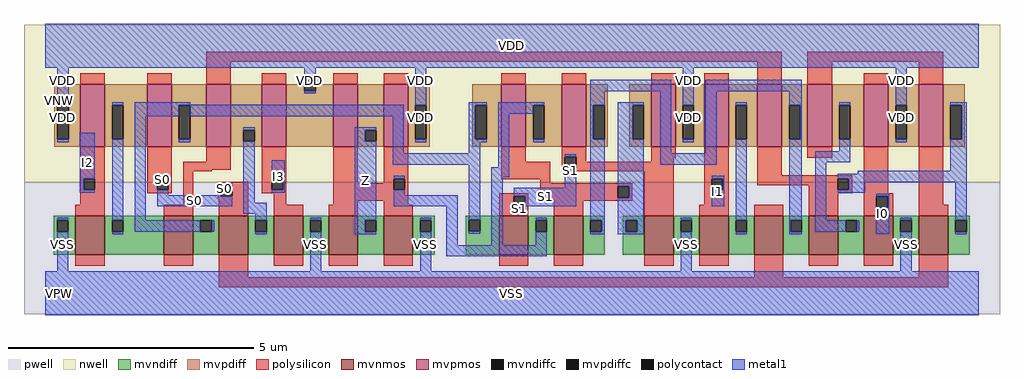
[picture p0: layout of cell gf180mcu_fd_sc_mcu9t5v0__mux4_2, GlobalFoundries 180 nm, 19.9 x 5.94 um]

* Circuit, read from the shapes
.subckt gf180mcu_fd_sc_mcu9t5v0__mux4_2 I0 I1 I2 I3 S0 S1 Z VDD VNW VPW VSS
XM1 n1 I2 VSS VPW nfet_06v0 w=0.8u l=0.6u
XM2 n2 n3 n1 VPW nfet_06v0 w=0.8u l=0.6u
XM3 n4 S0 n2 VPW nfet_06v0 w=0.8u l=0.6u
XM4 VSS I3 n4 VPW nfet_06v0 w=0.8u l=0.6u
XM5 Z n5 VSS VPW nfet_06v0 w=0.8u l=0.6u m=2
XM6 n5 S1 n2 VPW nfet_06v0 w=0.8u l=0.6u
XM7 n6 n7 n5 VPW nfet_06v0 w=0.8u l=0.6u
XM8 VSS S1 n7 VPW nfet_06v0 w=0.8u l=0.6u
XM9 n8 I1 VSS VPW nfet_06v0 w=0.8u l=0.6u
XM10 n6 S0 n8 VPW nfet_06v0 w=0.8u l=0.6u
XM11 n9 n3 n6 VPW nfet_06v0 w=0.8u l=0.6u
XM12 VSS I0 n9 VPW nfet_06v0 w=0.8u l=0.6u
XM13 n3 S0 VSS VPW nfet_06v0 w=0.8u l=0.6u
XM14 n1 I2 VDD VNW pfet_06v0 w=1.28u l=0.5u
XM15 n2 S0 n1 VNW pfet_06v0 w=1.28u l=0.5u
XM16 n4 n3 n2 VNW pfet_06v0 w=1.28u l=0.5u
XM17 VDD I3 n4 VNW pfet_06v0 w=1.28u l=0.5u
XM18 Z n5 VDD VNW pfet_06v0 w=1.28u l=0.5u m=2
XM19 n5 n7 n2 VNW pfet_06v0 w=1.28u l=0.5u
XM20 n6 S1 n5 VNW pfet_06v0 w=1.28u l=0.5u
XM21 VDD S1 n7 VNW pfet_06v0 w=1.28u l=0.5u
XM22 n8 I1 VDD VNW pfet_06v0 w=1.28u l=0.5u
XM23 n6 n3 n8 VNW pfet_06v0 w=1.28u l=0.5u
XM24 n9 S0 n6 VNW pfet_06v0 w=1.28u l=0.5u
XM25 VDD I0 n9 VNW pfet_06v0 w=1.28u l=0.5u
XM26 n3 S0 VDD VNW pfet_06v0 w=1.28u l=0.5u
.ends

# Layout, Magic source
magic
tech gf180mcuD
magscale 1 10
<< nwell >>
rect -86 453 3894 1094
<< pwell >>
rect -86 -86 3894 453
<< mvnmos >>
rect 124 156 244 316
rect 484 156 604 316
rect 708 156 828 316
rect 932 156 1052 316
rect 1156 156 1276 316
rect 1380 156 1500 316
rect 1851 156 1971 316
rect 2075 156 2195 316
rect 2443 156 2563 316
rect 2667 156 2787 316
rect 2891 156 3011 316
rect 3115 156 3235 316
rect 3339 156 3459 316
rect 3563 156 3683 316
<< mvpmos >>
rect 144 596 244 852
rect 416 596 516 852
rect 658 596 758 852
rect 884 596 984 852
rect 1176 596 1276 852
rect 1380 596 1480 852
rect 1861 596 1961 852
rect 2107 596 2207 852
rect 2471 596 2571 852
rect 2687 596 2787 852
rect 2905 596 3005 852
rect 3109 596 3209 852
rect 3339 596 3439 852
rect 3563 596 3663 852
<< mvndiff >>
rect 36 297 124 316
rect 36 251 49 297
rect 95 251 124 297
rect 36 156 124 251
rect 244 297 484 316
rect 244 251 273 297
rect 319 251 484 297
rect 244 156 484 251
rect 604 297 708 316
rect 604 251 633 297
rect 679 251 708 297
rect 604 156 708 251
rect 828 297 932 316
rect 828 251 857 297
rect 903 251 932 297
rect 828 156 932 251
rect 1052 297 1156 316
rect 1052 251 1081 297
rect 1127 251 1156 297
rect 1052 156 1156 251
rect 1276 297 1380 316
rect 1276 251 1305 297
rect 1351 251 1380 297
rect 1276 156 1380 251
rect 1500 297 1588 316
rect 1500 251 1529 297
rect 1575 251 1588 297
rect 1500 156 1588 251
rect 1715 299 1851 316
rect 1715 253 1728 299
rect 1774 253 1851 299
rect 1715 156 1851 253
rect 1971 297 2075 316
rect 1971 251 2000 297
rect 2046 251 2075 297
rect 1971 156 2075 251
rect 2195 297 2283 316
rect 2195 251 2224 297
rect 2270 251 2283 297
rect 2195 156 2283 251
rect 2355 297 2443 316
rect 2355 251 2368 297
rect 2414 251 2443 297
rect 2355 156 2443 251
rect 2563 297 2667 316
rect 2563 251 2592 297
rect 2638 251 2667 297
rect 2563 156 2667 251
rect 2787 297 2891 316
rect 2787 251 2816 297
rect 2862 251 2891 297
rect 2787 156 2891 251
rect 3011 297 3115 316
rect 3011 251 3040 297
rect 3086 251 3115 297
rect 3011 156 3115 251
rect 3235 297 3339 316
rect 3235 251 3264 297
rect 3310 251 3339 297
rect 3235 156 3339 251
rect 3459 297 3563 316
rect 3459 251 3488 297
rect 3534 251 3563 297
rect 3459 156 3563 251
rect 3683 297 3771 316
rect 3683 251 3712 297
rect 3758 251 3771 297
rect 3683 156 3771 251
<< mvpdiff >>
rect 1044 871 1116 884
rect 1044 852 1057 871
rect 37 767 144 852
rect 37 627 50 767
rect 96 627 144 767
rect 37 596 144 627
rect 244 767 416 852
rect 244 627 273 767
rect 319 627 416 767
rect 244 596 416 627
rect 516 767 658 852
rect 516 627 545 767
rect 591 627 658 767
rect 516 596 658 627
rect 758 665 884 852
rect 758 619 809 665
rect 855 619 884 665
rect 758 596 884 619
rect 984 825 1057 852
rect 1103 852 1116 871
rect 1103 825 1176 852
rect 984 596 1176 825
rect 1276 665 1380 852
rect 1276 619 1305 665
rect 1351 619 1380 665
rect 1276 596 1380 619
rect 1480 767 1568 852
rect 1480 627 1509 767
rect 1555 627 1568 767
rect 1480 596 1568 627
rect 1742 767 1861 852
rect 1742 627 1755 767
rect 1801 627 1861 767
rect 1742 596 1861 627
rect 1961 767 2107 852
rect 1961 627 1990 767
rect 2036 627 2107 767
rect 1961 596 2107 627
rect 2207 767 2295 852
rect 2207 627 2236 767
rect 2282 627 2295 767
rect 2207 596 2295 627
rect 2383 767 2471 852
rect 2383 627 2396 767
rect 2442 627 2471 767
rect 2383 596 2471 627
rect 2571 767 2687 852
rect 2571 627 2600 767
rect 2646 627 2687 767
rect 2571 596 2687 627
rect 2787 767 2905 852
rect 2787 627 2816 767
rect 2862 627 2905 767
rect 2787 596 2905 627
rect 3005 767 3109 852
rect 3005 627 3034 767
rect 3080 627 3109 767
rect 3005 596 3109 627
rect 3209 767 3339 852
rect 3209 627 3238 767
rect 3284 627 3339 767
rect 3209 596 3339 627
rect 3439 767 3563 852
rect 3439 627 3468 767
rect 3514 627 3563 767
rect 3439 596 3563 627
rect 3663 767 3751 852
rect 3663 627 3692 767
rect 3738 627 3751 767
rect 3663 596 3751 627
<< mvndiffc >>
rect 49 251 95 297
rect 273 251 319 297
rect 633 251 679 297
rect 857 251 903 297
rect 1081 251 1127 297
rect 1305 251 1351 297
rect 1529 251 1575 297
rect 1728 253 1774 299
rect 2000 251 2046 297
rect 2224 251 2270 297
rect 2368 251 2414 297
rect 2592 251 2638 297
rect 2816 251 2862 297
rect 3040 251 3086 297
rect 3264 251 3310 297
rect 3488 251 3534 297
rect 3712 251 3758 297
<< mvpdiffc >>
rect 50 627 96 767
rect 273 627 319 767
rect 545 627 591 767
rect 809 619 855 665
rect 1057 825 1103 871
rect 1305 619 1351 665
rect 1509 627 1555 767
rect 1755 627 1801 767
rect 1990 627 2036 767
rect 2236 627 2282 767
rect 2396 627 2442 767
rect 2600 627 2646 767
rect 2816 627 2862 767
rect 3034 627 3080 767
rect 3238 627 3284 767
rect 3468 627 3514 767
rect 3692 627 3738 767
<< polysilicon >>
rect 658 944 3005 984
rect 144 852 244 896
rect 416 852 516 896
rect 658 852 758 944
rect 884 852 984 896
rect 1176 852 1276 896
rect 1380 852 1480 896
rect 1861 852 1961 896
rect 2107 852 2207 896
rect 2471 852 2571 896
rect 2687 852 2787 896
rect 2905 852 3005 944
rect 3109 944 3663 984
rect 3109 852 3209 944
rect 3339 852 3439 896
rect 3563 852 3663 944
rect 144 467 244 596
rect 144 421 157 467
rect 203 421 244 467
rect 144 360 244 421
rect 416 467 516 596
rect 658 536 758 596
rect 416 421 457 467
rect 503 421 516 467
rect 416 408 516 421
rect 564 502 758 536
rect 564 496 680 502
rect 564 360 604 496
rect 884 467 984 596
rect 704 441 828 454
rect 704 395 717 441
rect 763 395 828 441
rect 884 421 925 467
rect 971 421 984 467
rect 884 408 984 421
rect 704 382 828 395
rect 124 316 244 360
rect 484 316 604 360
rect 708 316 828 382
rect 932 360 984 408
rect 1176 448 1276 596
rect 1380 467 1480 596
rect 1380 448 1421 467
rect 1176 421 1421 448
rect 1467 421 1480 467
rect 1861 536 1961 596
rect 2107 555 2207 596
rect 1861 464 2059 536
rect 2107 509 2120 555
rect 2166 536 2207 555
rect 2471 552 2571 596
rect 2471 536 2563 552
rect 2166 509 2563 536
rect 2107 496 2563 509
rect 1176 376 1480 421
rect 2019 448 2059 464
rect 2019 435 2395 448
rect 1176 360 1276 376
rect 932 316 1052 360
rect 1156 316 1276 360
rect 1380 360 1480 376
rect 1851 395 1971 408
rect 1380 316 1500 360
rect 1851 349 1912 395
rect 1958 349 1971 395
rect 2019 389 2336 435
rect 2382 389 2395 435
rect 2019 376 2395 389
rect 1851 316 1971 349
rect 2075 316 2195 376
rect 2443 316 2563 496
rect 2687 467 2787 596
rect 2687 421 2718 467
rect 2764 421 2787 467
rect 2905 480 3005 596
rect 3109 552 3209 596
rect 2905 467 3291 480
rect 2905 440 3232 467
rect 2687 360 2787 421
rect 3115 421 3232 440
rect 3278 421 3291 467
rect 3115 408 3291 421
rect 3339 408 3439 596
rect 2667 316 2787 360
rect 2891 316 3011 360
rect 3115 316 3235 408
rect 3339 395 3459 408
rect 3339 349 3390 395
rect 3436 349 3459 395
rect 3339 316 3459 349
rect 3563 360 3663 596
rect 3563 316 3683 360
rect 124 112 244 156
rect 484 112 604 156
rect 708 64 828 156
rect 932 112 1052 156
rect 1156 112 1276 156
rect 1380 112 1500 156
rect 1851 112 1971 156
rect 2075 112 2195 156
rect 2443 112 2563 156
rect 2667 112 2787 156
rect 2891 64 3011 156
rect 3115 112 3235 156
rect 3339 112 3459 156
rect 3563 64 3683 156
rect 708 24 3683 64
<< polycontact >>
rect 157 421 203 467
rect 457 421 503 467
rect 717 395 763 441
rect 925 421 971 467
rect 1421 421 1467 467
rect 2120 509 2166 555
rect 1912 349 1958 395
rect 2336 389 2382 435
rect 2718 421 2764 467
rect 3232 421 3278 467
rect 3390 349 3436 395
<< metal1 >>
rect 0 918 3808 1098
rect 50 767 96 918
rect 1057 871 1103 918
rect 1057 814 1103 825
rect 273 767 319 778
rect 50 616 96 627
rect 142 467 203 654
rect 142 421 157 467
rect 142 410 203 421
rect 49 297 95 308
rect 49 90 95 251
rect 273 297 319 627
rect 365 768 591 778
rect 365 767 1463 768
rect 365 722 545 767
rect 365 297 411 722
rect 591 722 1463 767
rect 545 616 591 627
rect 809 665 855 676
rect 457 467 503 478
rect 457 400 503 421
rect 702 441 763 452
rect 702 400 717 441
rect 457 395 717 400
rect 457 354 763 395
rect 809 369 855 619
rect 1262 665 1351 676
rect 1262 619 1305 665
rect 925 467 978 542
rect 971 421 978 467
rect 925 410 978 421
rect 809 323 903 369
rect 857 297 903 323
rect 365 251 633 297
rect 679 251 690 297
rect 273 240 319 251
rect 857 240 903 251
rect 1081 297 1127 308
rect 1081 90 1127 251
rect 1262 297 1351 619
rect 1417 570 1463 722
rect 1509 767 1555 918
rect 2224 824 2554 870
rect 1509 616 1555 627
rect 1728 767 1801 778
rect 1728 627 1755 767
rect 1728 616 1801 627
rect 1847 767 2036 778
rect 1847 732 1990 767
rect 1728 570 1774 616
rect 1417 524 1774 570
rect 1421 467 1467 478
rect 1421 400 1467 421
rect 1421 354 1682 400
rect 1262 251 1305 297
rect 1262 240 1351 251
rect 1529 297 1575 308
rect 1529 90 1575 251
rect 1636 196 1682 354
rect 1728 299 1774 524
rect 1847 514 1893 732
rect 1990 616 2036 627
rect 2224 767 2282 824
rect 2224 627 2236 767
rect 1728 242 1774 253
rect 1820 472 1893 514
rect 2120 555 2166 566
rect 1820 196 1866 472
rect 2120 430 2166 509
rect 1912 395 2166 430
rect 1958 354 2166 395
rect 1912 338 1958 349
rect 2000 297 2046 308
rect 2000 196 2046 251
rect 2224 297 2282 627
rect 2270 251 2282 297
rect 2224 240 2282 251
rect 2336 767 2442 778
rect 2336 627 2396 767
rect 2336 435 2442 627
rect 2508 570 2554 824
rect 2600 767 2646 918
rect 2600 616 2646 627
rect 2692 824 3086 870
rect 2692 570 2738 824
rect 2508 524 2738 570
rect 2816 767 2862 778
rect 2382 389 2442 435
rect 2336 297 2442 389
rect 2718 467 2770 478
rect 2764 421 2770 467
rect 2718 354 2770 421
rect 2336 251 2368 297
rect 2414 251 2442 297
rect 2336 240 2442 251
rect 2592 297 2638 308
rect 1636 150 2046 196
rect 2592 90 2638 251
rect 2816 297 2862 627
rect 2816 240 2862 251
rect 3034 767 3086 824
rect 3080 627 3086 767
rect 3034 297 3086 627
rect 3238 767 3284 778
rect 3238 579 3284 627
rect 3468 767 3514 918
rect 3468 616 3514 627
rect 3692 767 3758 778
rect 3738 627 3758 767
rect 3034 251 3040 297
rect 3140 533 3284 579
rect 3140 297 3186 533
rect 3692 498 3758 627
rect 3314 487 3758 498
rect 3232 467 3758 487
rect 3278 452 3758 467
rect 3278 421 3344 452
rect 3232 410 3344 421
rect 3390 395 3442 406
rect 3436 349 3442 395
rect 3140 251 3264 297
rect 3310 251 3321 297
rect 3034 240 3086 251
rect 3390 242 3442 349
rect 3488 297 3534 308
rect 3488 90 3534 251
rect 3712 297 3758 452
rect 3712 240 3758 251
rect 0 -90 3808 90
<< labels >>
flabel metal1 s 3390 242 3442 406 0 FreeSans 200 0 0 0 I0
port 1 nsew default input
flabel metal1 s 2718 354 2770 478 0 FreeSans 200 0 0 0 I1
port 2 nsew default input
flabel metal1 s 142 410 203 654 0 FreeSans 200 0 0 0 I2
port 3 nsew default input
flabel metal1 s 925 410 978 542 0 FreeSans 200 0 0 0 I3
port 4 nsew default input
flabel metal1 s 457 452 503 478 0 FreeSans 200 0 0 0 S0
port 5 nsew default input
flabel metal1 s 2120 430 2166 566 0 FreeSans 200 0 0 0 S1
port 6 nsew default input
flabel metal1 s 0 918 3808 1098 0 FreeSans 200 0 0 0 VDD
port 8 nsew power bidirectional abutment
flabel metal1 s 3488 90 3534 308 0 FreeSans 200 0 0 0 VSS
port 11 nsew ground bidirectional abutment
flabel metal1 s 1262 240 1351 676 0 FreeSans 200 0 0 0 Z
port 7 nsew default output
flabel nwell s 10 734 110 834 0 FreeSans 400 0 0 0 VNW
port 9 nsew power bidirectional
flabel pwell s 10 -50 110 50 0 FreeSans 400 0 0 0 VPW
port 10 nsew ground bidirectional
rlabel metal1 s 702 400 763 452 1 S0
port 5 nsew default input
rlabel metal1 s 457 400 503 452 1 S0
port 5 nsew default input
rlabel metal1 s 457 354 763 400 1 S0
port 5 nsew default input
rlabel metal1 s 1912 354 2166 430 1 S1
port 6 nsew default input
rlabel metal1 s 1912 338 1958 354 1 S1
port 6 nsew default input
rlabel metal1 s 3468 814 3514 918 1 VDD
port 8 nsew power bidirectional abutment
rlabel metal1 s 2600 814 2646 918 1 VDD
port 8 nsew power bidirectional abutment
rlabel metal1 s 1509 814 1555 918 1 VDD
port 8 nsew power bidirectional abutment
rlabel metal1 s 1057 814 1103 918 1 VDD
port 8 nsew power bidirectional abutment
rlabel metal1 s 50 814 96 918 1 VDD
port 8 nsew power bidirectional abutment
rlabel metal1 s 3468 616 3514 814 1 VDD
port 8 nsew power bidirectional abutment
rlabel metal1 s 2600 616 2646 814 1 VDD
port 8 nsew power bidirectional abutment
rlabel metal1 s 1509 616 1555 814 1 VDD
port 8 nsew power bidirectional abutment
rlabel metal1 s 50 616 96 814 1 VDD
port 8 nsew power bidirectional abutment
rlabel metal1 s 2592 90 2638 308 1 VSS
port 11 nsew ground bidirectional abutment
rlabel metal1 s 1529 90 1575 308 1 VSS
port 11 nsew ground bidirectional abutment
rlabel metal1 s 1081 90 1127 308 1 VSS
port 11 nsew ground bidirectional abutment
rlabel metal1 s 49 90 95 308 1 VSS
port 11 nsew ground bidirectional abutment
rlabel metal1 s 0 -90 3808 90 1 VSS
port 11 nsew ground bidirectional abutment
<< properties >>
string FIXED_BBOX 0 0 3808 1008
string GDS_END 23628
string GDS_FILE $PDKPATH/libs.ref/gf180mcu_fd_sc_mcu9t5v0/gds/gf180mcu_fd_sc_mcu9t5v0.gds
string GDS_START 14576
string LEFclass core
string LEFsite GF018hv5v_green_sc9
string LEFsymmetry X Y
<< end >>
